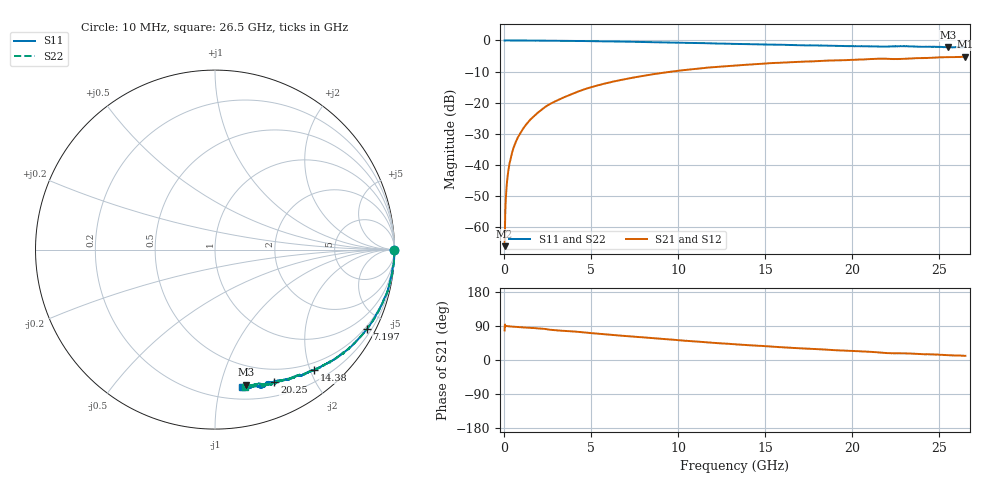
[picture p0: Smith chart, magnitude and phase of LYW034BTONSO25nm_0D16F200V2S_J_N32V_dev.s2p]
!Keysight Technologies,N5222B,MY61253708,A.15.00.15
!Date: Wednesday, June 19, 2024 08:56:01
!Correction: S11(C  2-Port  )
!S21(C  2-Port  )
!S12(C  2-Port  )
!S22(C  2-Port  )
!S2P File: Measurements: S11, S21, S12, S22:
# Hz S  RI  R 50
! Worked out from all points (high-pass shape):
!   2651 points, 10 MHz to 26.5 GHz, reference 50 ohm
!   highest |S21| = -5.20 dB at 26.5 GHz (marker M1); lowest = -66.1 dB at 10 MHz (marker M2)
!   |S21| within 3 dB of the highest: 12.88001 GHz to 12.89572 GHz (15.71 MHz wide, 0.122 % of centre); 12.93 GHz to end of sweep
!   lowest |S11| = -2.2 dB at 25.5 GHz (marker M3), VSWR 7.79, Z = 16.1 - j60 ohm
!   |S11| at or under -10 dB: nowhere
!   |S22| runs from -2.2 to 0.0 dB; largest |S21 - S12| = 0.0075
!   S11 on the Smith chart (normalised r, x): 10 MHz: open; 7.197 GHz: 0.40, -4.02; 14.38 GHz: 0.37, -2.06; 20.25 GHz: 0.35, -1.49; 26.5 GHz: 0.30, -1.18
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1e7  0.9986 -0.00234  0.000102 0.000485  -4.1e-05 0.000713  0.9986 -0.000703
7.997358e7  0.9998 -0.00588  3.36e-05 0.00285  2.2e-05 0.00289  0.9994 -0.00548
1.699396e8  0.9998 -0.0124  7.35e-05 0.00613  8.62e-05 0.00617  0.9996 -0.0118
2.199208e8  0.9996 -0.016  0.000134 0.00794  0.000156 0.00799  0.9992 -0.0152
2.798981e8  0.9997 -0.0203  0.000185 0.0101  0.000235 0.0102  0.9996 -0.0196
3.898566e8  0.9992 -0.0283  0.000422 0.0141  0.000446 0.0141  0.9991 -0.0273
5.198075e8  0.9988 -0.0368  0.00072 0.0187  0.000721 0.0188  0.9991 -0.0363
8.796717e8  0.9974 -0.0622  0.00198 0.0314  0.00198 0.0316  0.9968 -0.0612
1.489442e9  0.989 -0.1057  0.00489 0.0533  0.00493 0.0536  0.992 -0.1023
2.349117e9  0.9788 -0.1613  0.0122 0.0847  0.0124 0.0853  0.9804 -0.1615
3.208792e9  0.9653 -0.2185  0.0249 0.1121  0.025 0.1127  0.9655 -0.2177
4.428332e9  0.9344 -0.294  0.0448 0.1517  0.0452 0.1526  0.9362 -0.2913
7.197287e9  0.8449 -0.4439  0.114 0.2189  0.1153 0.2195  0.8464 -0.443
8.846664e9  0.7804 -0.5171  0.1628 0.2463  0.1642 0.2471  0.7821 -0.5156
1.3255e10  0.5954 -0.6492  0.2966 0.2624  0.2988 0.2623  0.5988 -0.6481
1.438457e10  0.5506 -0.6723  0.3263 0.2561  0.3283 0.2566  0.5543 -0.6686
1.767333e10  0.4196 -0.718  0.4022 0.2256  0.4055 0.2243  0.4306 -0.7161
2.025236e10  0.3315 -0.7384  0.4513 0.1939  0.4542 0.192  0.3481 -0.7379
2.209166e10  0.2868 -0.7422  0.4809 0.1572  0.4824 0.1551  0.2811 -0.749
2.308129e10  0.2578 -0.7697  0.4855 0.1524  0.4862 0.1524  0.2582 -0.7509
2.550038e10  0.1709 -0.7534  0.5261 0.117  0.5275 0.1179  0.1914 -0.7584
2.65e10  0.153 -0.7679  0.5393 0.1059  0.5383 0.1029  0.1654 -0.7676
